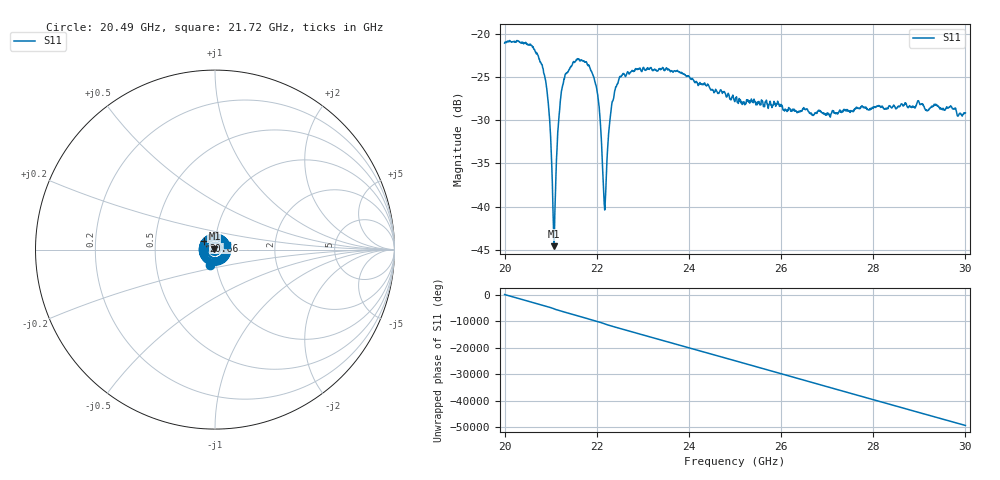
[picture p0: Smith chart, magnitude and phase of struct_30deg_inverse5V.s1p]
#  HZ  S  RI  R  50.00
! Rohde & Schwarz ZVA40 4Ports - Version 3.90 - 1145.1110k42 SN: 100403
! Date: 2023-09-30 07:30:42
! Measurement: S12
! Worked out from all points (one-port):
!   5001 points, 20 GHz to 30 GHz, reference 50 ohm
!   lowest |S11| = -44.6 dB at 21.07 GHz (marker M1), VSWR 1.01, Z = 49.7 + j0.488 ohm
!   |S11| at or under -10 dB: start of sweep to end of sweep
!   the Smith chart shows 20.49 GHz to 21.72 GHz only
!   S11 on the Smith chart (normalised r, x): 20.49 GHz: 0.94, -0.16; 20.66 GHz: 0.88, +0.09; 21.72 GHz: 1.14, +0.06
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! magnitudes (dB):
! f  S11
! 20 GHz  -21.0
! 20.49 GHz  -21.1
! 20.66 GHz  -21.9
! 20.83 GHz  -23.9
! 20.91 GHz  -26.2
! 20.97 GHz  -29.4
! 21.04 GHz  -37.8
! 21.07 GHz  -44.6
! 21.1 GHz  -38.5
! 21.18 GHz  -29.6
! 21.25 GHz  -26.2
! 21.47 GHz  -23.6
! 21.72 GHz  -23.1
! 21.88 GHz  -24.2
! 22.01 GHz  -26.6
! 22.06 GHz  -29.1
! 22.14 GHz  -36.9
! 22.17 GHz  -40.1
! 22.2 GHz  -37.7
! 22.26 GHz  -31.2
! 22.31 GHz  -28.7
! 22.5 GHz  -24.9
! 23.75 GHz  -24.2
! 25 GHz  -27.8
! 26.25 GHz  -28.7
! 27.5 GHz  -29.1
! 28.75 GHz  -28.5
! 30 GHz  -29.1
